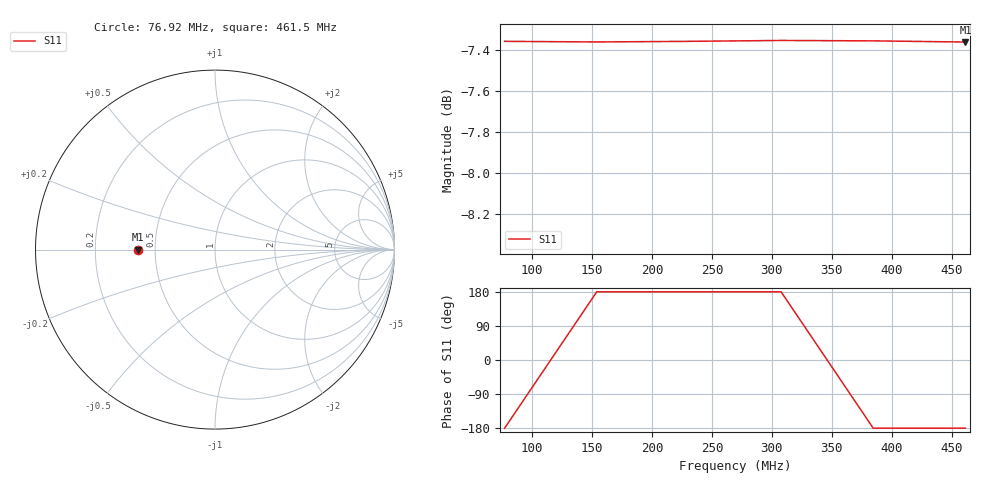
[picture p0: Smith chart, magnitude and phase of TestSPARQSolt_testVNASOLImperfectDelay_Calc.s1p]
# MHz MA S R 50.0
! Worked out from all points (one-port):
!   6 points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, 76.92 MHz to 461.5 MHz, reference 50 ohm
!   lowest |S11| = -7.4 dB at 461.5 MHz (marker M1), VSWR 2.50, Z = 20 - j0.00698 ohm
!   |S11| at or under -10 dB: nowhere
76.92308  0.4286 -180.0
153.8462  0.4284 180.0
230.7692  0.4286 180.0
307.6923  0.4288 180.0
384.6154  0.4287 -180.0
461.5385  0.4284 -180.0
